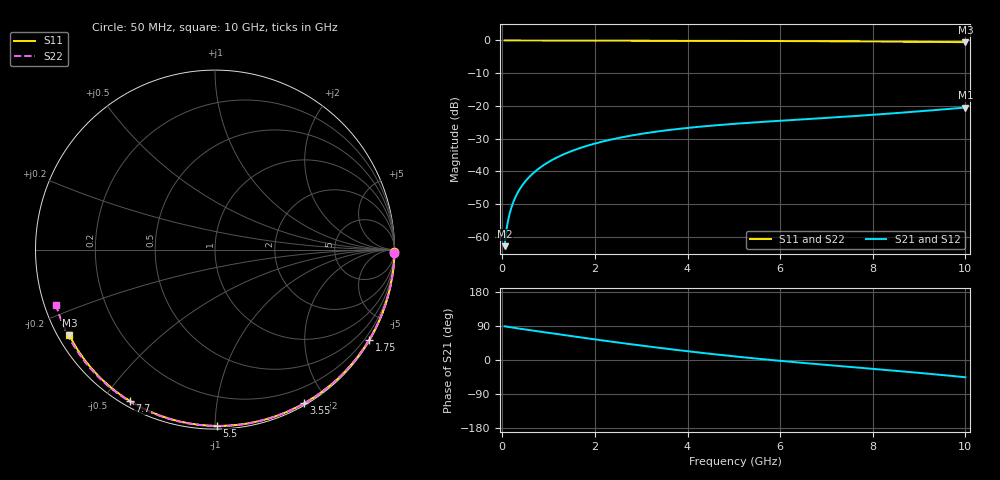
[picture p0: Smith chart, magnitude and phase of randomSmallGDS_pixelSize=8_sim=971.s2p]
! freq	dB(S11)	phase(S11)	dB(S12)	phase(S12)
!  dB(S21)	phase(S21)	dB(S22)	phase(S22)
!S-par simulation data
#  GHz  S  DB  R 50
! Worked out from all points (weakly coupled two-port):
!   200 points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, 50 MHz to 10 GHz, reference 50 ohm
!   highest |S21| = -20.53 dB at 10 GHz (marker M1); lowest = -62.9 dB at 50 MHz (marker M2)
!   lowest |S11| = -0.5 dB at 10 GHz (marker M3), VSWR 32.97, Z = 1.63 - j13.6 ohm
!   |S11| at or under -10 dB: nowhere
!   |S22| runs from -0.6 to 0.0 dB; largest |S21 - S12| = 0
!   S11 on the Smith chart (normalised r, x): 50 MHz: open; 1.75 GHz: 0.03, -3.68; 3.55 GHz: 0.02, -1.73; 5.5 GHz: 0.02, -1.01; 7.7 GHz: 0.02, -0.58; 10 GHz: 0.03, -0.27
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0.05  -0.00 -0.9  -62.93 89.0  -62.93 89.0  -0.00 -0.9
0.1  -0.00 -1.8  -56.91 87.9  -56.91 87.9  -0.00 -1.9
0.15  -0.00 -2.7  -53.41 86.9  -53.41 86.9  -0.00 -2.8
0.2  -0.00 -3.5  -50.92 85.9  -50.92 85.9  -0.00 -3.8
0.25  -0.00 -4.4  -49.00 85.0  -49.00 85.0  -0.00 -4.7
0.35  -0.00 -6.2  -46.11 83.1  -46.11 83.1  -0.00 -6.6
0.5  -0.01 -8.8  -43.06 80.4  -43.06 80.4  -0.01 -9.4
0.7  -0.01 -12.3  -40.19 76.9  -40.19 76.9  -0.01 -13.1
1  -0.02 -17.5  -37.17 71.6  -37.17 71.6  -0.02 -18.7
1.35  -0.03 -23.6  -34.68 65.5  -34.68 65.5  -0.03 -25.1
1.75  -0.04 -30.4  -32.58 58.6  -32.58 58.6  -0.04 -32.3
2.5  -0.06 -43.0  -29.86 46.1  -29.86 46.1  -0.06 -45.7
3.4  -0.08 -57.6  -27.75 31.9  -27.75 31.9  -0.09 -61.2
3.55  -0.09 -59.9  -27.48 29.7  -27.48 29.7  -0.09 -63.7
4.3  -0.11 -71.6  -26.34 19.0  -26.34 19.0  -0.12 -76.0
5.05  -0.14 -82.8  -25.47 9.1  -25.47 9.1  -0.14 -87.9
5.5  -0.16 -89.3  -25.02 3.6  -25.02 3.6  -0.16 -94.9
6.7  -0.22 -106.1  -23.95 -9.9  -23.95 -9.9  -0.23 -112.8
7.7  -0.29 -119.5  -23.04 -20.2  -23.04 -20.2  -0.31 -127.4
8.35  -0.34 -128.0  -22.39 -27.0  -22.39 -27.0  -0.36 -136.7
9.2  -0.43 -139.1  -21.46 -36.2  -21.46 -36.2  -0.46 -149.0
10  -0.53 -149.6  -20.53 -45.5  -20.53 -45.5  -0.56 -160.9
